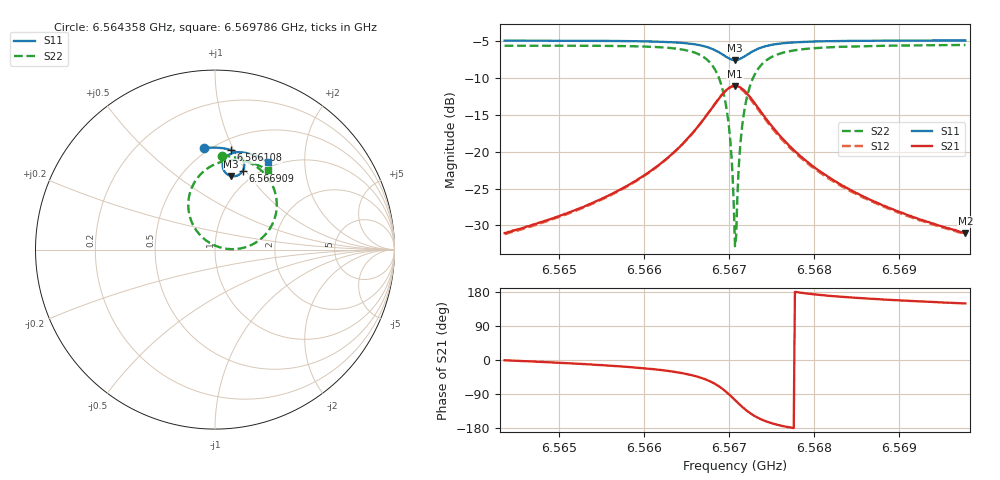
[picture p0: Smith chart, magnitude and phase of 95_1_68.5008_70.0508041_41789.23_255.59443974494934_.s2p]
#  HZ  S  RI  R  50.00
! Rohde & Schwarz Vector Network Analyzer
! Rohde-Schwarz,ZNB20-2Port,1311601062101988,3.16
! Created: UTC 3/20/2024, 5:07:57 PM
! freq[Hz]  re:S11  im:S11  re:S21  im:S21  re:S12  im:S12  re:S22  im:S22
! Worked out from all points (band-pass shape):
!   401 points, 6.564358 GHz to 6.569786 GHz, reference 50 ohm
!   highest |S21| = -11.04 dB at 6.567072 GHz (marker M1); lowest = -31.1 dB at 6.569786 GHz (marker M2)
!   |S21| within 3 dB of the highest: 6.566801 GHz to 6.567344 GHz (542.9 kHz wide, 0.00827 % of centre)
!   lowest |S11| = -7.5 dB at 6.567072 GHz (marker M3), VSWR 2.45, Z = 41.3 + j41.1 ohm
!   |S11| at or under -10 dB: nowhere
!   |S22| runs from -32.8 to -5.5 dB; largest |S21 - S12| = 0.013
!   S11 on the Smith chart (normalised r, x): 6.564358 GHz: 0.47, +0.78; 6.566108 GHz: 0.60, +0.98; 6.566909 GHz: 0.86, +0.97; 6.569786 GHz: 0.91, +1.33
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6.5643578e9  -0.0628 0.5656  0.028 -0.000382  0.0275 -0.00085  0.0369 0.5241
6.565267e9  0.0117 0.5678  0.0411 -0.00764  0.0404 -0.00822  0.123 0.5109
6.5661084e9  0.0902 0.554  0.0696 -0.0312  0.0683 -0.0321  0.2324 0.4611
6.5661763e9  0.0974 0.5514  0.0733 -0.0356  0.0722 -0.0364  0.244 0.4524
6.5664748e9  0.1317 0.532  0.0943 -0.068  0.0928 -0.0692  0.3028 0.3886
6.566692e9  0.1568 0.5007  0.1081 -0.1221  0.1057 -0.1247  0.342 0.2838
6.5668141e9  0.1634 0.4696  0.1006 -0.1768  0.0963 -0.18  0.3342 0.1798
6.5669091e9  0.1543 0.4382  0.0679 -0.2307  0.0604 -0.2337  0.2758 0.0786
6.5669634e9  0.1392 0.4212  0.031 -0.2584  0.0213 -0.2599  0.2083 0.0287
6.5670041e9  0.1228 0.4121  -0.00564 -0.272  -0.0169 -0.2713  0.1413 0.00618
6.5670312e9  0.1101 0.409  -0.0331 -0.2753  -0.0449 -0.273  0.0916 0.00242
6.5670584e9  0.0965 0.4088  -0.0618 -0.2732  -0.0734 -0.2686  0.041 0.0088
6.5670719e9  0.0898 0.41  -0.0758 -0.2702  -0.0873 -0.2643  0.0163 0.0159
6.5670991e9  0.0769 0.4144  -0.1027 -0.2596  -0.1133 -0.2519  -0.0298 0.0376
6.5671262e9  0.0655 0.4215  -0.1266 -0.2445  -0.1357 -0.2351  -0.0694 0.0673
6.5671669e9  0.0525 0.4355  -0.1546 -0.2154  -0.1611 -0.2045  -0.1139 0.122
6.5672212e9  0.0435 0.4572  -0.1759 -0.1722  -0.1788 -0.1611  -0.1441 0.2001
6.5672891e9  0.0436 0.4826  -0.1822 -0.1229  -0.1816 -0.1131  -0.146 0.2869
6.5675333e9  0.0808 0.5306  -0.14 -0.0279  -0.1369 -0.0236  -0.0498 0.4466
6.5679812e9  0.1439 0.5423  -0.0801 0.00872  -0.0781 0.00982  0.0862 0.4973
6.5688904e9  0.2284 0.5213  -0.0387 0.015  -0.0379 0.0153  0.2164 0.4795
6.5697861e9  0.2944 0.489  -0.024 0.0142  -0.0236 0.0144  0.2944 0.4431
